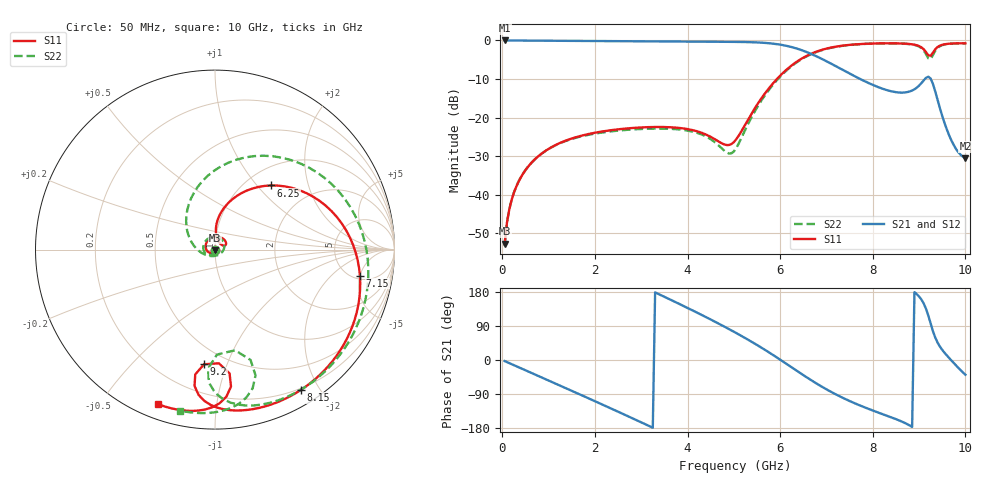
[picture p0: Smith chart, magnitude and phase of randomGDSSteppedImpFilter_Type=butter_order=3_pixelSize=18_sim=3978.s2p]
! freq	dB(S11)	phase(S11)	dB(S12)	phase(S12)
!  dB(S21)	phase(S21)	dB(S22)	phase(S22)
!S-par simulation data
#  GHz  S  DB  R 50
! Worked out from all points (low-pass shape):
!   200 points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, 50 MHz to 10 GHz, reference 50 ohm
!   highest |S21| = 0.00 dB at 50 MHz (marker M1); lowest = -30.6 dB at 10 GHz (marker M2)
!   |S21| within 3 dB of the highest: start of sweep to 6.572 GHz
!   lowest |S11| = -52.7 dB at 50 MHz (marker M3), VSWR 1.00, Z = 50 - j0.227 ohm
!   |S11| at or under -10 dB: start of sweep to 5.931 GHz
!   |S22| runs from -53.3 to -0.7 dB; largest |S21 - S12| = 0
!   S11 on the Smith chart (normalised r, x): 50 MHz: 1.00, -0.00; 6.25 GHz: 1.29, +1.19; 7.15 GHz: 5.65, -4.98; 8.15 GHz: 0.18, -1.77; 9.2 GHz: 0.38, -0.83; 10 GHz: 0.06, -0.69
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0.05  -52.73 -79.9  -0.00 -2.8  -0.00 -2.8  -53.35 -76.8
0.2  -41.43 -100.2  -0.02 -10.9  -0.02 -10.9  -41.37 -94.9
0.5  -33.64 -123.5  -0.04 -27.1  -0.04 -27.1  -33.59 -110.2
1.15  -27.12 -169.3  -0.08 -62.3  -0.08 -62.3  -27.17 -138.3
1.75  -24.58 149.1  -0.13 -95.0  -0.13 -95.0  -24.75 -163.1
2.65  -22.86 90.5  -0.20 -144.8  -0.20 -144.8  -23.22 155.6
3.4  -22.44 51.3  -0.26 172.6  -0.26 172.6  -22.85 110.1
4.3  -23.92 23.1  -0.32 119.2  -0.32 119.2  -24.36 34.7
4.85  -27.13 44.2  -0.36 84.6  -0.36 84.6  -29.09 -52.8
5.05  -25.65 70.3  -0.38 71.3  -0.38 71.3  -27.94 -114.8
5.7  -13.29 80.0  -0.66 24.7  -0.66 24.7  -13.73 140.7
6.25  -6.46 48.8  -1.72 -19.5  -1.72 -19.5  -6.65 85.8
6.7  -3.29 18.2  -3.65 -55.6  -3.65 -55.6  -3.40 45.1
7.15  -1.72 -10.1  -6.34 -87.4  -6.34 -87.4  -1.78 10.2
7.6  -1.04 -34.1  -9.22 -113.6  -9.22 -113.6  -1.08 -18.3
8.15  -0.76 -58.5  -12.25 -140.1  -12.25 -140.1  -0.78 -46.6
8.35  -0.74 -66.5  -13.04 -149.1  -13.04 -149.1  -0.76 -55.7
8.9  -1.10 -89.1  -12.66 179.0  -12.66 179.0  -1.17 -81.4
9.2  -3.85 -95.5  -9.40 116.9  -9.40 116.9  -4.66 -88.9
9.35  -2.29 -83.3  -13.27 58.9  -13.27 58.9  -2.66 -72.1
9.7  -0.80 -99.9  -26.00 -1.5  -26.00 -1.5  -0.83 -91.0
10  -0.74 -110.3  -30.57 -38.8  -30.57 -38.8  -0.74 -102.1
